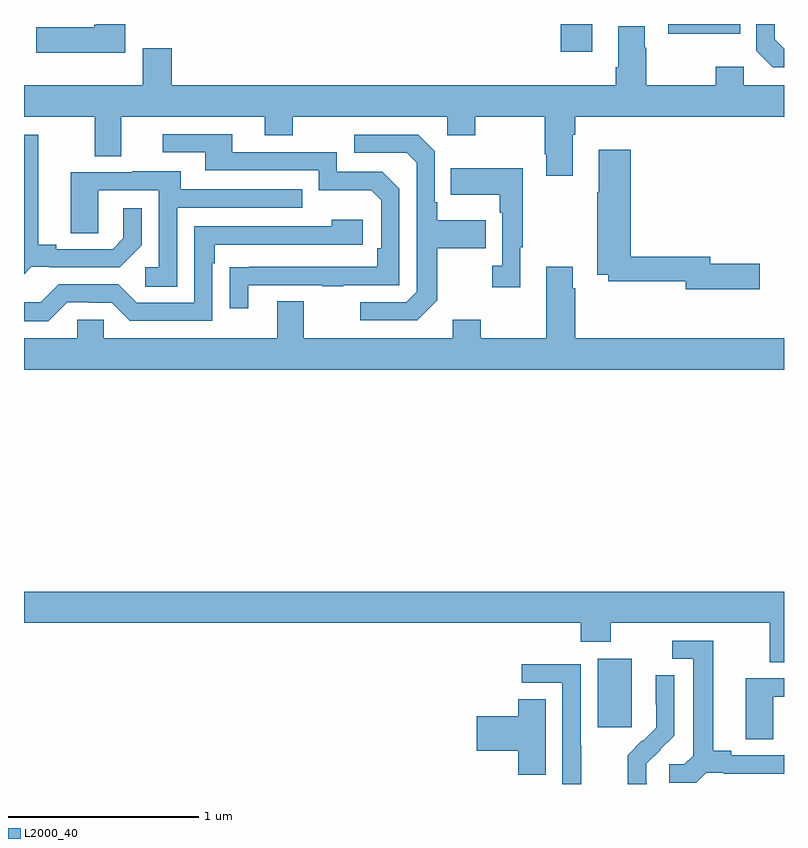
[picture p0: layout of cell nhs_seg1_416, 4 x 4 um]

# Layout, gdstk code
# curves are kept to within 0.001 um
import gdstk
lib = gdstk.Library(unit=1e-6, precision=1e-09)
def R(c, l, rs):  # rectangles x0, y0, x1, y1
    for r in rs: c.add(gdstk.rectangle(r[:2], r[2:], *l))
def P(c, l, *ps):  # polygons
    for p in ps: c.add(gdstk.Polygon(p, *l))
L2000_40 = (2000, 40)

nhs_seg1_416 = lib.new_cell('nhs_seg1_416')
R(nhs_seg1_416, L2000_40, [(136.019,568.497,136.198,568.858), (135.824,572.052,135.991,572.199), (136.392,572.147,136.769,572.199)])
P(nhs_seg1_416, L2000_40, [(137,572.068),(136.95,572.118),(136.95,572.199),(136.854,572.199),(136.854,572.058),(136.941,571.971),(137,571.971)],
  [(133.534,572.199),(133.382,572.199),(133.382,572.196),(133.369,572.196),(133.369,572.182),(133.065,572.182),(133.065,572.048),(133.534,572.048)],
  [(135.889,571.616),(135.902,571.616),(135.902,571.712),(137,571.712),(137,571.876),(136.788,571.876),(136.788,571.975),(136.642,571.975),(136.642,571.876),(136.275,571.876),(136.275,572.075),(136.267,572.075),(136.267,572.188),(136.127,572.188),(136.127,571.972),(136.115,571.972),(136.115,571.876),(133.778,571.876),(133.778,572.071),(133.625,572.071),(133.625,571.876),(133,571.876),(133,571.712),(133.373,571.712),(133.373,571.504),(133.513,571.504),(133.513,571.712),(134.267,571.712),(134.267,571.613),(134.415,571.613),(134.415,571.712),(135.228,571.712),(135.228,571.613),(135.375,571.613),(135.375,571.712),(135.742,571.712),(135.742,571.513),(135.749,571.513),(135.749,571.401),(135.889,571.401)],
  [(134.179,570.825),(134.569,570.825),(134.569,570.82),(134.681,570.82),(134.681,570.825),(134.976,570.825),(134.976,571.332),(134.886,571.422),(134.646,571.422),(134.646,571.524),(134.095,571.524),(134.095,571.62),(133.731,571.62),(133.731,571.524),(133.955,571.524),(133.955,571.428),(134.55,571.428),(134.55,571.325),(134.827,571.325),(134.88,571.272),(134.88,571.018),(134.86,571.018),(134.86,570.921),(134.083,570.92),(134.083,570.702),(134.179,570.702)],
  [(133.038,570.921),(133.132,570.921),(133.132,570.918),(133.504,570.918),(133.62,571.034),(133.62,571.228),(133.523,571.228),(133.523,571.071),(133.466,571.014),(133.171,571.014),(133.171,571.037),(133.075,571.037),(133.075,571.617),(133,571.617),(133,570.883)],
  [(135.175,570.745),(135.175,571.018),(135.431,571.018),(135.431,571.165),(135.175,571.165),(135.175,571.261),(135.162,571.261),(135.162,571.53),(135.075,571.617),(134.739,571.617),(134.739,571.521),(135.015,571.521),(135.066,571.47),(135.066,570.789),(135.012,570.735),(134.769,570.735),(134.769,570.639),(135.069,570.639)],
  [(136.873,570.938),(136.612,570.938),(136.612,570.974),(136.193,570.974),(136.193,571.537),(136.025,571.537),(136.025,571.313),(136.018,571.313),(136.018,570.878),(136.074,570.878),(136.074,570.846),(136.484,570.846),(136.484,570.803),(136.873,570.803)],
  [(135.613,571.025),(135.625,571.025),(135.625,571.441),(135.247,571.441),(135.247,571.301),(135.504,571.301),(135.504,571.205),(135.516,571.205),(135.516,570.926),(135.465,570.926),(135.465,570.813),(135.613,570.813)],
  [(133.806,571.233),(134.465,571.233),(134.465,571.329),(133.825,571.329),(133.825,571.423),(133.571,571.423),(133.571,571.419),(133.247,571.419),(133.247,571.099),(133.392,571.099),(133.392,571.323),(133.71,571.323),(133.71,570.918),(133.638,570.918),(133.638,570.817),(133.806,570.817)],
  [(133.227,570.735),(133.343,570.735),(133.343,570.732),(133.461,570.732),(133.557,570.636),(133.992,570.636),(133.992,570.941),(134.005,570.941),(134.005,571.038),(134.782,571.038),(134.782,571.168),(134.621,571.168),(134.621,571.134),(133.896,571.134),(133.896,570.732),(133.593,570.732),(133.497,570.828),(133.182,570.828),(133.089,570.735),(133,570.735),(133,570.635),(133.127,570.635)],
  [(137,570.544),(135.902,570.544),(135.902,570.809),(135.889,570.809),(135.889,570.922),(135.749,570.922),(135.749,570.544),(135.405,570.544),(135.405,570.643),(135.257,570.643),(135.257,570.544),(134.473,570.544),(134.473,570.739),(134.333,570.739),(134.333,570.544),(133.419,570.544),(133.419,570.642),(133.281,570.642),(133.281,570.544),(133,570.544),(133,570.38),(137,570.38)],
  [(137,569.212),(133,569.212),(133,569.048),(135.929,569.048),(135.929,568.949),(136.089,568.949),(136.089,569.048),(136.925,569.048),(136.925,568.84),(137,568.84)],
  [(136.59,568.257),(136.684,568.257),(136.684,568.254),(137,568.254),(137,568.35),(136.723,568.35),(136.723,568.373),(136.627,568.373),(136.627,568.953),(136.413,568.953),(136.413,568.857),(136.523,568.857),(136.523,568.349),(136.476,568.302),(136.395,568.302),(136.395,568.205),(136.538,568.205)],
  [(135.933,568.4),(135.93,568.4),(135.93,568.83),(135.621,568.83),(135.621,568.731),(135.834,568.731),(135.834,568.199),(135.933,568.199)],
  [(136.278,568.209),(136.276,568.209),(136.276,568.306),(136.422,568.454),(136.422,568.772),(136.326,568.772),(136.326,568.618),(136.328,568.618),(136.328,568.496),(136.257,568.425),(136.254,568.428),(136.177,568.351),(136.177,568.199),(136.278,568.199)],
  [(136.944,568.659),(137,568.659),(137,568.755),(136.799,568.755),(136.799,568.435),(136.944,568.435)],
  [(135.745,568.646),(135.602,568.646),(135.602,568.556),(135.384,568.556),(135.384,568.373),(135.602,568.373),(135.602,568.249),(135.745,568.249)])

lib.write_gds('nhs_seg1_416.gds')
